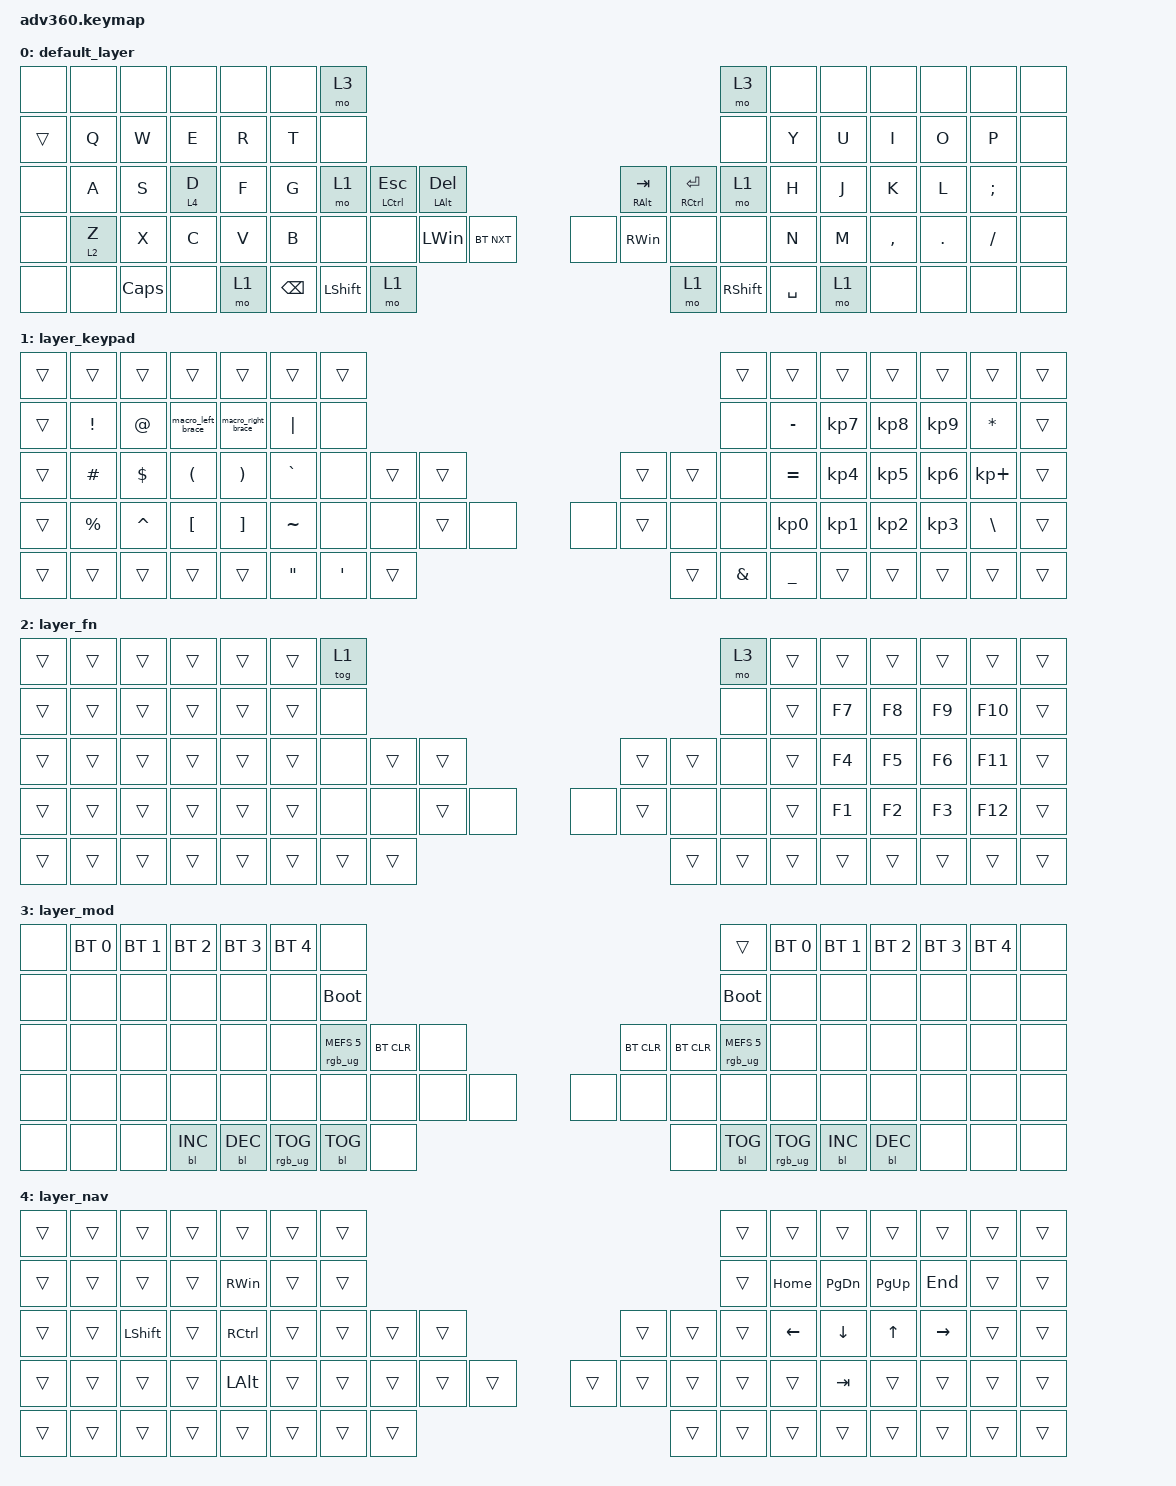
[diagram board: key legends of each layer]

/*
 * Copyright (c) 2020 The ZMK Contributors
 *
 * SPDX-License-Identifier: MIT
 */


/* THIS FILE WAS GENERATED!
 *
 * This file was generated automatically. You may or may not want to
 * edit it directly.
 */

#include <behaviors.dtsi>
#include <dt-bindings/zmk/keys.h>
#include <dt-bindings/zmk/bt.h>
#include <dt-bindings/zmk/rgb.h>
#include <dt-bindings/zmk/backlight.h>

/ {
  behaviors {
    #include "macros.dtsi"

    hm: homerow_mods {
        compatible = "zmk,behavior-hold-tap";
        label = "HOMEROW_MODS";
        #binding-cells = <2>;
        tapping-term-ms = <200>;
        quick_tap_ms = <175>;
        flavor = "tap-preferred";
        bindings = <&kp>, <&kp>;
    };
  };

    keymap {
        compatible = "zmk,keymap";


        default_layer {
            bindings = <
  &none    &none     &none    &none   &none          &none                     &mo 3                 &mo 3             &none            &none      &none              &none                    &none   &none
 &trans    &kp Q     &kp W    &kp E   &kp R          &kp T                     &none                 &none             &kp Y            &kp U      &kp I              &kp O                    &kp P   &none
  &none    &kp A     &kp S  &lt 4 D   &kp F          &kp G                     &mo 1  &mt LEFT_CONTROL ESC  &mt LEFT_ALT DEL                              &mt RIGHT_ALT TAB  &mt RIGHT_CONTROL ENTER   &mo 1   &kp H   &kp J      &kp K    &kp L  &kp SEMI   &none
  &none  &lt 2 Z     &kp X    &kp C   &kp V          &kp B                     &none                 &none      &kp LEFT_WIN       &bt BT_NXT      &none      &kp RIGHT_WIN                    &none   &none   &kp N   &kp M  &kp COMMA  &kp DOT  &kp FSLH   &none
  &none    &none  &kp CAPS    &none   &mo 1  &kp BACKSPACE            &kp LEFT_SHIFT                 &mo 1             &mo 1  &kp RIGHT_SHIFT  &kp SPACE              &mo 1                    &none   &none   &none   &none
            >;
        };

        layer_keypad {
            bindings = <
 &trans           &trans      &trans                &trans                 &trans             &trans                      &trans  &trans     &trans         &trans          &trans     &trans     &trans  &trans
 &trans  &kp EXCLAMATION      &kp AT     &macro_left_brace     &macro_right_brace           &kp PIPE                       &none   &none  &kp MINUS      &kp KP_N7       &kp KP_N8  &kp KP_N9  &kp ASTRK  &trans
 &trans        &kp POUND  &kp DOLLAR  &kp LEFT_PARENTHESIS  &kp RIGHT_PARENTHESIS          &kp GRAVE                       &none  &trans     &trans                                    &trans     &trans   &none  &kp EQUAL  &kp KP_N4  &kp KP_N5  &kp KP_N6    &kp KP_PLUS  &trans
 &trans      &kp PERCENT   &kp CARET      &kp LEFT_BRACKET      &kp RIGHT_BRACKET          &kp TILDE                       &none   &none     &trans          &none           &none     &trans      &none   &none  &kp KP_N0  &kp KP_N1  &kp KP_N2  &kp KP_N3  &kp BACKSLASH  &trans
 &trans           &trans      &trans                &trans                 &trans  &kp DOUBLE_QUOTES            &kp SINGLE_QUOTE  &trans     &trans  &kp AMPERSAND  &kp UNDERSCORE     &trans     &trans  &trans     &trans     &trans
            >;
        };

        layer_fn {
            bindings = <
 &trans  &trans  &trans  &trans  &trans  &trans            &tog 1   &mo 3  &trans  &trans  &trans  &trans   &trans  &trans
 &trans  &trans  &trans  &trans  &trans  &trans             &none   &none  &trans  &kp F7  &kp F8  &kp F9  &kp F10  &trans
 &trans  &trans  &trans  &trans  &trans  &trans             &none  &trans  &trans                  &trans   &trans   &none  &trans  &kp F4  &kp F5  &kp F6  &kp F11  &trans
 &trans  &trans  &trans  &trans  &trans  &trans             &none   &none  &trans   &none   &none  &trans    &none   &none  &trans  &kp F1  &kp F2  &kp F3  &kp F12  &trans
 &trans  &trans  &trans  &trans  &trans  &trans            &trans  &trans  &trans  &trans  &trans  &trans   &trans  &trans  &trans  &trans
            >;
        };

        layer_mod {
            bindings = <
  &none  &bt BT_SEL 0  &bt BT_SEL 1  &bt BT_SEL 2  &bt BT_SEL 3     &bt BT_SEL 4                             &none       &trans  &bt BT_SEL 0  &bt BT_SEL 1     &bt BT_SEL 2  &bt BT_SEL 3  &bt BT_SEL 4                   &none
  &none         &none         &none         &none         &none            &none                       &bootloader  &bootloader         &none         &none            &none         &none         &none                   &none
  &none         &none         &none         &none         &none            &none            &rgb_ug RGB_MEFS_CMD 5   &bt BT_CLR         &none                                   &bt BT_CLR    &bt BT_CLR  &rgb_ug RGB_MEFS_CMD 5   &none   &none   &none   &none   &none   &none
  &none         &none         &none         &none         &none            &none                             &none        &none         &none         &none            &none         &none         &none                   &none   &none   &none   &none   &none   &none   &none
  &none         &none         &none    &bl BL_INC    &bl BL_DEC  &rgb_ug RGB_TOG                        &bl BL_TOG        &none         &none    &bl BL_TOG  &rgb_ug RGB_TOG    &bl BL_INC    &bl BL_DEC                   &none   &none   &none
            >;
        };

        layer_nav {
            bindings = <
 &trans  &trans          &trans  &trans             &trans  &trans            &trans  &trans    &trans         &trans       &trans   &trans  &trans  &trans
 &trans  &trans          &trans  &trans      &kp RIGHT_WIN  &trans            &trans  &trans  &kp HOME  &kp PAGE_DOWN  &kp PAGE_UP  &kp END  &trans  &trans
 &trans  &trans  &kp LEFT_SHIFT  &trans  &kp RIGHT_CONTROL  &trans            &trans  &trans    &trans                               &trans  &trans  &trans  &kp LEFT  &kp DOWN  &kp UP  &kp RIGHT  &trans  &trans
 &trans  &trans          &trans  &trans       &kp LEFT_ALT  &trans            &trans  &trans    &trans         &trans       &trans   &trans  &trans  &trans    &trans   &kp TAB  &trans     &trans  &trans  &trans
 &trans  &trans          &trans  &trans             &trans  &trans            &trans  &trans    &trans         &trans       &trans   &trans  &trans  &trans    &trans    &trans
            >;
        };

    };
};
